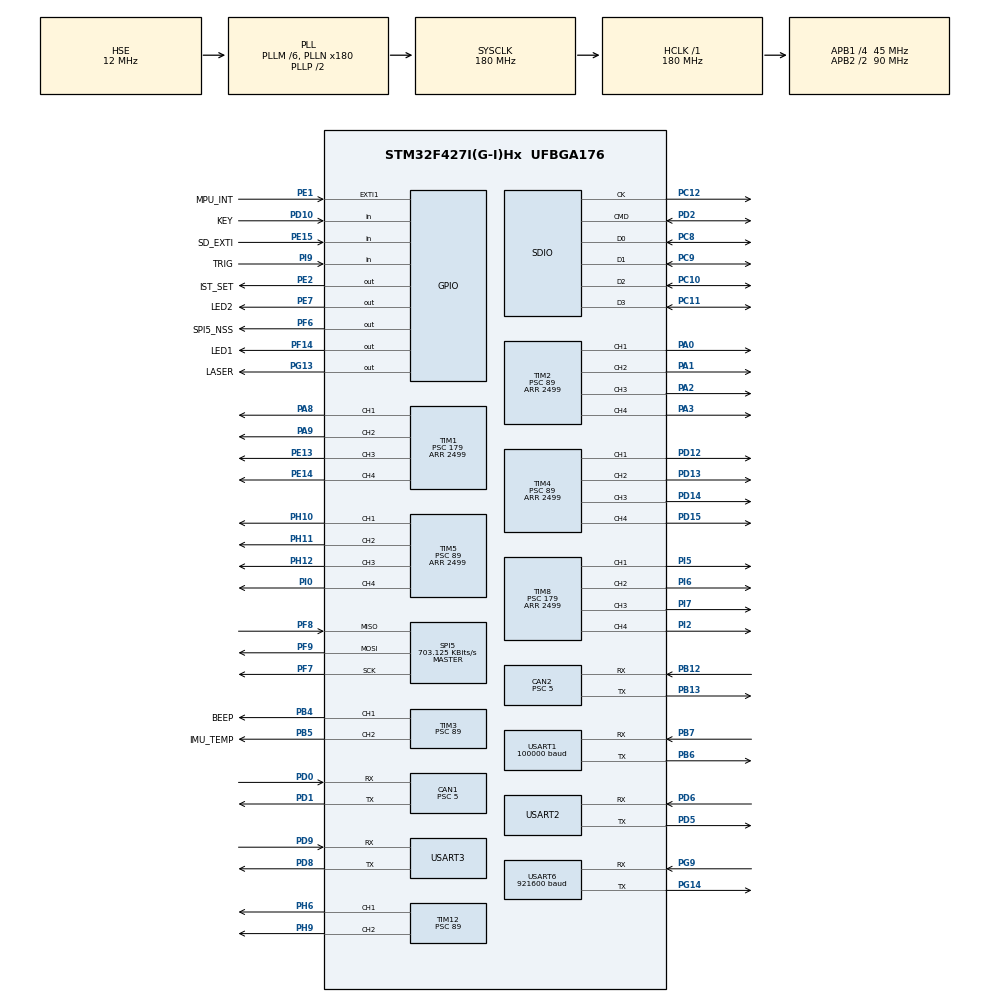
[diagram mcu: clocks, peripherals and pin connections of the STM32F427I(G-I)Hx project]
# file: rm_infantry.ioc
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CAN1.ABOM=ENABLE
CAN1.BS1=CAN_BS1_3TQ
CAN1.BS2=CAN_BS2_5TQ
CAN1.CalculateTimeBit=1000
CAN1.CalculateTimeQuantum=111.11111111111111
CAN1.Prescaler=5
CAN2.ABOM=ENABLE
CAN2.BS1=CAN_BS1_3TQ
CAN2.BS2=CAN_BS2_5TQ
CAN2.CalculateTimeBit=1000
CAN2.CalculateTimeQuantum=111.11111111111111
CAN2.Prescaler=5
CAN2.SJW=CAN_SJW_4TQ
Dma.Request0=SDIO_RX
Dma.Request1=SDIO_TX
Dma.Request2=USART1_RX
Dma.Request3=USART2_RX
Dma.Request4=USART3_RX
Dma.Request5=USART6_RX
Dma.Request6=USART2_TX
Dma.Request7=USART3_TX
Dma.Request8=USART6_TX
Dma.SDIO_RX.0.Direction=DMA_PERIPH_TO_MEMORY
Dma.SDIO_RX.0.FIFOMode=DMA_FIFOMODE_ENABLE
Dma.SDIO_RX.0.FIFOThreshold=DMA_FIFO_THRESHOLD_FULL
Dma.SDIO_RX.0.Instance=DMA2_Stream3
Dma.SDIO_RX.0.MemBurst=DMA_MBURST_INC4
Dma.SDIO_RX.0.MemDataAlignment=DMA_MDATAALIGN_WORD
Dma.SDIO_RX.0.MemInc=DMA_MINC_ENABLE
Dma.SDIO_RX.0.Mode=DMA_PFCTRL
Dma.SDIO_RX.0.PeriphBurst=DMA_PBURST_INC4
Dma.SDIO_RX.0.PeriphDataAlignment=DMA_PDATAALIGN_WORD
Dma.SDIO_RX.0.PeriphInc=DMA_PINC_DISABLE
Dma.SDIO_RX.0.Priority=DMA_PRIORITY_HIGH
Dma.SDIO_TX.1.Direction=DMA_MEMORY_TO_PERIPH
Dma.SDIO_TX.1.FIFOMode=DMA_FIFOMODE_ENABLE
Dma.SDIO_TX.1.FIFOThreshold=DMA_FIFO_THRESHOLD_FULL
Dma.SDIO_TX.1.Instance=DMA2_Stream6
Dma.SDIO_TX.1.MemBurst=DMA_MBURST_INC4
Dma.SDIO_TX.1.MemDataAlignment=DMA_MDATAALIGN_WORD
Dma.SDIO_TX.1.MemInc=DMA_MINC_ENABLE
Dma.SDIO_TX.1.Mode=DMA_PFCTRL
Dma.SDIO_TX.1.PeriphBurst=DMA_PBURST_INC4
Dma.SDIO_TX.1.PeriphDataAlignment=DMA_PDATAALIGN_WORD
Dma.SDIO_TX.1.PeriphInc=DMA_PINC_DISABLE
Dma.SDIO_TX.1.Priority=DMA_PRIORITY_HIGH
Dma.USART1_RX.2.Direction=DMA_PERIPH_TO_MEMORY
Dma.USART1_RX.2.FIFOMode=DMA_FIFOMODE_DISABLE
Dma.USART1_RX.2.Instance=DMA2_Stream2
Dma.USART1_RX.2.MemDataAlignment=DMA_MDATAALIGN_BYTE
Dma.USART1_RX.2.MemInc=DMA_MINC_ENABLE
Dma.USART1_RX.2.Mode=DMA_CIRCULAR
Dma.USART1_RX.2.PeriphDataAlignment=DMA_PDATAALIGN_BYTE
Dma.USART1_RX.2.PeriphInc=DMA_PINC_DISABLE
Dma.USART1_RX.2.Priority=DMA_PRIORITY_LOW
Dma.USART2_RX.3.Direction=DMA_PERIPH_TO_MEMORY
Dma.USART2_RX.3.FIFOMode=DMA_FIFOMODE_DISABLE
Dma.USART2_RX.3.Instance=DMA1_Stream5
Dma.USART2_RX.3.MemDataAlignment=DMA_MDATAALIGN_BYTE
Dma.USART2_RX.3.MemInc=DMA_MINC_ENABLE
Dma.USART2_RX.3.Mode=DMA_NORMAL
Dma.USART2_RX.3.PeriphDataAlignment=DMA_PDATAALIGN_BYTE
Dma.USART2_RX.3.PeriphInc=DMA_PINC_DISABLE
Dma.USART2_RX.3.Priority=DMA_PRIORITY_LOW
Dma.USART2_TX.6.Direction=DMA_MEMORY_TO_PERIPH
Dma.USART2_TX.6.FIFOMode=DMA_FIFOMODE_DISABLE
Dma.USART2_TX.6.Instance=DMA1_Stream6
Dma.USART2_TX.6.MemDataAlignment=DMA_MDATAALIGN_BYTE
Dma.USART2_TX.6.MemInc=DMA_MINC_ENABLE
Dma.USART2_TX.6.Mode=DMA_NORMAL
Dma.USART2_TX.6.PeriphDataAlignment=DMA_PDATAALIGN_BYTE
Dma.USART2_TX.6.PeriphInc=DMA_PINC_DISABLE
Dma.USART2_TX.6.Priority=DMA_PRIORITY_LOW
Dma.USART3_RX.4.Direction=DMA_PERIPH_TO_MEMORY
Dma.USART3_RX.4.FIFOMode=DMA_FIFOMODE_DISABLE
Dma.USART3_RX.4.Instance=DMA1_Stream1
Dma.USART3_RX.4.MemDataAlignment=DMA_MDATAALIGN_BYTE
Dma.USART3_RX.4.MemInc=DMA_MINC_ENABLE
Dma.USART3_RX.4.Mode=DMA_NORMAL
Dma.USART3_RX.4.PeriphDataAlignment=DMA_PDATAALIGN_BYTE
Dma.USART3_RX.4.PeriphInc=DMA_PINC_DISABLE
Dma.USART3_RX.4.Priority=DMA_PRIORITY_LOW
Dma.USART3_TX.7.Direction=DMA_MEMORY_TO_PERIPH
Dma.USART3_TX.7.FIFOMode=DMA_FIFOMODE_DISABLE
Dma.USART3_TX.7.Instance=DMA1_Stream3
Dma.USART3_TX.7.MemDataAlignment=DMA_MDATAALIGN_BYTE
Dma.USART3_TX.7.MemInc=DMA_MINC_ENABLE
Dma.USART3_TX.7.Mode=DMA_NORMAL
Dma.USART3_TX.7.PeriphDataAlignment=DMA_PDATAALIGN_BYTE
Dma.USART3_TX.7.PeriphInc=DMA_PINC_DISABLE
Dma.USART3_TX.7.Priority=DMA_PRIORITY_LOW
Dma.USART6_RX.5.Direction=DMA_PERIPH_TO_MEMORY
Dma.USART6_RX.5.FIFOMode=DMA_FIFOMODE_DISABLE
Dma.USART6_RX.5.Instance=DMA2_Stream1
Dma.USART6_RX.5.MemDataAlignment=DMA_MDATAALIGN_BYTE
Dma.USART6_RX.5.MemInc=DMA_MINC_ENABLE
Dma.USART6_RX.5.Mode=DMA_NORMAL
Dma.USART6_RX.5.PeriphDataAlignment=DMA_PDATAALIGN_BYTE
Dma.USART6_RX.5.PeriphInc=DMA_PINC_DISABLE
Dma.USART6_RX.5.Priority=DMA_PRIORITY_LOW
Dma.USART6_TX.8.Direction=DMA_MEMORY_TO_PERIPH
Dma.USART6_TX.8.FIFOMode=DMA_FIFOMODE_DISABLE
Dma.USART6_TX.8.Instance=DMA2_Stream7
Dma.USART6_TX.8.MemDataAlignment=DMA_MDATAALIGN_BYTE
Dma.USART6_TX.8.MemInc=DMA_MINC_ENABLE
Dma.USART6_TX.8.Mode=DMA_NORMAL
Dma.USART6_TX.8.PeriphDataAlignment=DMA_PDATAALIGN_BYTE
Dma.USART6_TX.8.PeriphInc=DMA_PINC_DISABLE
Dma.USART6_TX.8.Priority=DMA_PRIORITY_LOW
FATFS._CODE_PAGE=936
FATFS._USE_LFN=2
FREERTOS.INCLUDE_uxTaskGetStackHighWaterMark=1
FREERTOS.INCLUDE_vTaskDelayUntil=1
FREERTOS.Tasks01=defaultTask,0,128,StartDefaultTask,Default,NULL
FREERTOS.configCHECK_FOR_STACK_OVERFLOW=1
FREERTOS.configTIMER_TASK_STACK_DEPTH=128
FREERTOS.configUSE_TIMERS=1
FREERTOS.configUSE_TRACE_FACILITY=1
Mcu.Family=STM32F4
Mcu.Name=STM32F427I(G-I)Hx
Mcu.Package=UFBGA176
NVIC.CAN1_RX0_IRQn=true\:5\:0\:false\:false\:true\:true\:true
NVIC.CAN1_TX_IRQn=true\:5\:0\:false\:false\:true\:true\:true
NVIC.CAN2_RX0_IRQn=true\:6\:0\:true\:false\:true\:true\:true
NVIC.CAN2_TX_IRQn=true\:6\:0\:true\:false\:true\:true\:true
NVIC.DMA1_Stream1_IRQn=true\:5\:0\:false\:false\:true\:true\:false
NVIC.DMA1_Stream3_IRQn=true\:5\:0\:false\:false\:true\:true\:false
NVIC.DMA1_Stream5_IRQn=true\:5\:0\:false\:false\:true\:true\:false
NVIC.DMA1_Stream6_IRQn=true\:5\:0\:false\:false\:true\:true\:false
NVIC.DMA2_Stream1_IRQn=true\:5\:0\:false\:false\:true\:true\:false
NVIC.DMA2_Stream2_IRQn=true\:5\:0\:false\:false\:true\:true\:false
NVIC.DMA2_Stream3_IRQn=true\:6\:0\:true\:false\:true\:true\:false
NVIC.DMA2_Stream6_IRQn=true\:6\:0\:true\:false\:true\:true\:false
NVIC.DMA2_Stream7_IRQn=true\:5\:0\:false\:false\:true\:true\:false
NVIC.PriorityGroup=NVIC_PRIORITYGROUP_4
NVIC.SDIO_IRQn=true\:5\:0\:false\:false\:true\:true\:true
NVIC.TIM6_DAC_IRQn=true\:0\:0\:false\:false\:true\:false\:false
NVIC.TimeBase=TIM6_DAC_IRQn
NVIC.TimeBaseIP=TIM6
NVIC.USART1_IRQn=true\:5\:0\:false\:false\:true\:true\:true
NVIC.USART2_IRQn=true\:5\:0\:true\:false\:true\:true\:true
NVIC.USART3_IRQn=true\:5\:0\:false\:false\:true\:true\:true
NVIC.USART6_IRQn=true\:5\:0\:false\:false\:true\:true\:true
PA0/WKUP.Signal=S_TIM2_CH1_ETR
PA1.Signal=S_TIM2_CH2
PA13.Mode=Serial_Wire
PA13.Signal=SYS_JTMS-SWDIO
PA14.Mode=Serial_Wire
PA14.Signal=SYS_JTCK-SWCLK
PA2.Signal=S_TIM2_CH3
PA3.Signal=S_TIM2_CH4
PA8.Signal=S_TIM1_CH1
PA9.Signal=S_TIM1_CH2
PB12.Mode=Slave
PB12.Signal=CAN2_RX
PB13.Mode=Slave
PB13.Signal=CAN2_TX
PB4.GPIO_Label=BEEP
PB4.Signal=S_TIM3_CH1
PB5.GPIO_Label=IMU_TEMP
PB5.Signal=S_TIM3_CH2
PB6.Mode=Asynchronous
PB6.Signal=USART1_TX
PB7.Mode=Asynchronous
PB7.Signal=USART1_RX
PC10.Mode=SD_4_bits_Wide_bus
PC10.Signal=SDIO_D2
PC11.Mode=SD_4_bits_Wide_bus
PC11.Signal=SDIO_D3
PC12.Mode=SD_4_bits_Wide_bus
PC12.Signal=SDIO_CK
PC8.Mode=SD_4_bits_Wide_bus
PC8.Signal=SDIO_D0
PC9.Mode=SD_4_bits_Wide_bus
PC9.Signal=SDIO_D1
PD0.Mode=Master
PD0.Signal=CAN1_RX
PD1.Mode=Master
PD1.Signal=CAN1_TX
PD10.GPIO_Label=KEY
PD10.Signal=GPIO_Input
PD12.Signal=S_TIM4_CH1
PD13.Signal=S_TIM4_CH2
PD14.Signal=S_TIM4_CH3
PD15.Signal=S_TIM4_CH4
PD2.Mode=SD_4_bits_Wide_bus
PD2.Signal=SDIO_CMD
PD5.Mode=Asynchronous
PD5.Signal=USART2_TX
PD6.Mode=Asynchronous
PD6.Signal=USART2_RX
PD8.Mode=Asynchronous
PD8.Signal=USART3_TX
PD9.Mode=Asynchronous
PD9.Signal=USART3_RX
PE1.GPIO_Label=MPU_INT
PE1.Signal=GPXTI1
PE13.Signal=S_TIM1_CH3
PE14.Signal=S_TIM1_CH4
PE15.GPIO_Label=SD_EXTI
PE15.Signal=GPIO_Input
PE2.GPIO_Label=IST_SET
PE2.Signal=GPIO_Output
PE7.GPIO_Label=LED2
PE7.Signal=GPIO_Output
PF14.GPIO_Label=LED1
PF14.Signal=GPIO_Output
PF6.GPIO_Label=SPI5_NSS
PF6.Signal=GPIO_Output
PF7.Mode=Full_Duplex_Master
PF7.Signal=SPI5_SCK
PF8.Mode=Full_Duplex_Master
PF8.Signal=SPI5_MISO
PF9.Mode=Full_Duplex_Master
PF9.Signal=SPI5_MOSI
PG13.GPIO_Label=LASER
PG13.Signal=GPIO_Output
PG14.Mode=Asynchronous
PG14.Signal=USART6_TX
PG9.Mode=Asynchronous
PG9.Signal=USART6_RX
PH0/OSC_IN.Mode=HSE-External-Oscillator
PH0/OSC_IN.Signal=RCC_OSC_IN
PH1/OSC_OUT.Mode=HSE-External-Oscillator
PH1/OSC_OUT.Signal=RCC_OSC_OUT
PH10.Signal=S_TIM5_CH1
PH11.Signal=S_TIM5_CH2
PH12.Signal=S_TIM5_CH3
PH6.Signal=S_TIM12_CH1
PH9.Signal=S_TIM12_CH2
PI0.Signal=S_TIM5_CH4
PI2.Signal=S_TIM8_CH4
PI5.Signal=S_TIM8_CH1
PI6.Signal=S_TIM8_CH2
PI7.Signal=S_TIM8_CH3
PI9.GPIO_Label=TRIG
PI9.GPIO_PuPd=GPIO_PULLUP
PI9.Signal=GPIO_Input
ProjectManager.HeapSize=0x500
ProjectManager.StackSize=0x1000
ProjectManager.TargetToolchain=MDK-ARM V5
RCC.48MHZClocksFreq_Value=45000000
RCC.AHBFreq_Value=180000000
RCC.APB1CLKDivider=RCC_HCLK_DIV4
RCC.APB1Freq_Value=45000000
RCC.APB1TimFreq_Value=90000000
RCC.APB2CLKDivider=RCC_HCLK_DIV2
RCC.APB2Freq_Value=90000000
RCC.APB2TimFreq_Value=180000000
RCC.CortexFreq_Value=180000000
RCC.HCLKFreq_Value=180000000
RCC.HSE_VALUE=12000000
RCC.HSI_VALUE=16000000
RCC.LSE_VALUE=32768
RCC.PLLM=6
RCC.PLLN=180
RCC.PLLQ=8
RCC.PLLSourceVirtual=RCC_PLLSOURCE_HSE
RCC.SYSCLKFreq_VALUE=180000000
RCC.SYSCLKSource=RCC_SYSCLKSOURCE_PLLCLK
RCC.VCOOutputFreq_Value=360000000
RTC.AsynchPrediv=124
RTC.Date=18
RTC.Format=RTC_FORMAT_BIN
RTC.Hours=10
RTC.Minutes=30
RTC.Month=RTC_MONTH_OCTOBER
RTC.WeekDay=RTC_WEEKDAY_WEDNESDAY
RTC.Year=17
SH.S_TIM12_CH1.0=TIM12_CH1,PWM Generation1 CH1
SH.S_TIM12_CH2.0=TIM12_CH2,PWM Generation2 CH2
SH.S_TIM1_CH1.0=TIM1_CH1,PWM Generation1 CH1
SH.S_TIM1_CH2.0=TIM1_CH2,PWM Generation2 CH2
SH.S_TIM1_CH3.0=TIM1_CH3,PWM Generation3 CH3
SH.S_TIM1_CH4.0=TIM1_CH4,PWM Generation4 CH4
SH.S_TIM2_CH1_ETR.0=TIM2_CH1,PWM Generation1 CH1
SH.S_TIM2_CH2.0=TIM2_CH2,PWM Generation2 CH2
SH.S_TIM2_CH3.0=TIM2_CH3,PWM Generation3 CH3
SH.S_TIM2_CH4.0=TIM2_CH4,PWM Generation4 CH4
SH.S_TIM3_CH1.0=TIM3_CH1,PWM Generation1 CH1
SH.S_TIM3_CH2.0=TIM3_CH2,PWM Generation2 CH2
SH.S_TIM4_CH1.0=TIM4_CH1,PWM Generation1 CH1
SH.S_TIM4_CH2.0=TIM4_CH2,PWM Generation2 CH2
SH.S_TIM4_CH3.0=TIM4_CH3,PWM Generation3 CH3
SH.S_TIM4_CH4.0=TIM4_CH4,PWM Generation4 CH4
SH.S_TIM5_CH1.0=TIM5_CH1,PWM Generation1 CH1
SH.S_TIM5_CH2.0=TIM5_CH2,PWM Generation2 CH2
SH.S_TIM5_CH3.0=TIM5_CH3,PWM Generation3 CH3
SH.S_TIM5_CH4.0=TIM5_CH4,PWM Generation4 CH4
SH.S_TIM8_CH1.0=TIM8_CH1,PWM Generation1 CH1
SH.S_TIM8_CH2.0=TIM8_CH2,PWM Generation2 CH2
SH.S_TIM8_CH3.0=TIM8_CH3,PWM Generation3 CH3
SH.S_TIM8_CH4.0=TIM8_CH4,PWM Generation4 CH4
SPI5.BaudRatePrescaler=SPI_BAUDRATEPRESCALER_128
SPI5.CalculateBaudRate=703.125 KBits/s
SPI5.Direction=SPI_DIRECTION_2LINES
SPI5.Mode=SPI_MODE_MASTER
SPI5.VirtualType=VM_MASTER
TIM1.Channel-PWM\ Generation1\ CH1=TIM_CHANNEL_1
TIM1.Channel-PWM\ Generation2\ CH2=TIM_CHANNEL_2
TIM1.Channel-PWM\ Generation3\ CH3=TIM_CHANNEL_3
TIM1.Channel-PWM\ Generation4\ CH4=TIM_CHANNEL_4
TIM1.Period=2499
TIM1.Prescaler=179
TIM1.Pulse-PWM\ Generation1\ CH1=1000
TIM1.Pulse-PWM\ Generation2\ CH2=1000
TIM1.Pulse-PWM\ Generation3\ CH3=1000
TIM1.Pulse-PWM\ Generation4\ CH4=1000
TIM12.Channel-PWM\ Generation1\ CH1=TIM_CHANNEL_1
TIM12.Channel-PWM\ Generation2\ CH2=TIM_CHANNEL_2
TIM12.Period=2499
TIM12.Prescaler=89
TIM12.Pulse-PWM\ Generation1\ CH1=1000
TIM12.Pulse-PWM\ Generation2\ CH2=1000
TIM2.Channel-PWM\ Generation1\ CH1=TIM_CHANNEL_1
TIM2.Channel-PWM\ Generation2\ CH2=TIM_CHANNEL_2
TIM2.Channel-PWM\ Generation3\ CH3=TIM_CHANNEL_3
TIM2.Channel-PWM\ Generation4\ CH4=TIM_CHANNEL_4
TIM2.Period=2499
TIM2.Prescaler=89
TIM2.Pulse-PWM\ Generation1\ CH1=1000
TIM2.Pulse-PWM\ Generation2\ CH2=1000
TIM2.Pulse-PWM\ Generation3\ CH3=1000
TIM2.Pulse-PWM\ Generation4\ CH4=1000
TIM3.Channel-PWM\ Generation1\ CH1=TIM_CHANNEL_1
TIM3.Channel-PWM\ Generation2\ CH2=TIM_CHANNEL_2
TIM3.Prescaler=89
TIM4.Channel-PWM\ Generation1\ CH1=TIM_CHANNEL_1
TIM4.Channel-PWM\ Generation2\ CH2=TIM_CHANNEL_2
TIM4.Channel-PWM\ Generation3\ CH3=TIM_CHANNEL_3
TIM4.Channel-PWM\ Generation4\ CH4=TIM_CHANNEL_4
TIM4.Period=2499
TIM4.Prescaler=89
TIM4.Pulse-PWM\ Generation1\ CH1=1000
TIM4.Pulse-PWM\ Generation2\ CH2=1000
TIM4.Pulse-PWM\ Generation3\ CH3=1000
TIM4.Pulse-PWM\ Generation4\ CH4=1000
TIM5.Channel-PWM\ Generation1\ CH1=TIM_CHANNEL_1
TIM5.Channel-PWM\ Generation2\ CH2=TIM_CHANNEL_2
TIM5.Channel-PWM\ Generation3\ CH3=TIM_CHANNEL_3
TIM5.Channel-PWM\ Generation4\ CH4=TIM_CHANNEL_4
TIM5.Period=2499
TIM5.Prescaler=89
TIM5.Pulse-PWM\ Generation1\ CH1=1000
TIM5.Pulse-PWM\ Generation2\ CH2=1000
TIM5.Pulse-PWM\ Generation3\ CH3=1000
TIM5.Pulse-PWM\ Generation4\ CH4=1000
TIM8.Channel-PWM\ Generation1\ CH1=TIM_CHANNEL_1
TIM8.Channel-PWM\ Generation2\ CH2=TIM_CHANNEL_2
TIM8.Channel-PWM\ Generation3\ CH3=TIM_CHANNEL_3
TIM8.Channel-PWM\ Generation4\ CH4=TIM_CHANNEL_4
TIM8.Period=2499
TIM8.Prescaler=179
TIM8.Pulse-PWM\ Generation1\ CH1=1000
TIM8.Pulse-PWM\ Generation2\ CH2=1000
TIM8.Pulse-PWM\ Generation3\ CH3=1000
TIM8.Pulse-PWM\ Generation4\ CH4=1000
USART1.BaudRate=100000
USART1.Parity=PARITY_EVEN
USART1.VirtualMode=VM_ASYNC
USART2.VirtualMode=VM_ASYNC
USART3.VirtualMode=VM_ASYNC
USART6.BaudRate=921600
USART6.VirtualMode=VM_ASYNC
VP_FATFS_VS_SDIO.Mode=SDIO
VP_FREERTOS_VS_ENABLE.Mode=Enabled
VP_RTC_VS_RTC_Activate.Mode=RTC_Enabled
VP_RTC_VS_RTC_Calendar.Mode=RTC_Calendar
VP_RTC_VS_RTC_WakeUp_intern.Mode=WakeUp
VP_SYS_VS_tim6.Mode=TIM6
board=rm_infantry

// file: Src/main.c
/**
  ******************************************************************************
  * File Name          : main.c
  * Description        : Main program body
  ******************************************************************************
  * This notice applies to any and all portions of this file
  * that are not between comment pairs USER CODE BEGIN and
  * USER CODE END. Other portions of this file, whether
  * inserted by the user or by software development tools
  * are owned by their respective copyright owners.
  *
  * Copyright (c) 2018 STMicroelectronics International N.V.
  * All rights reserved.
  *
  * Redistribution and use in source and binary forms, with or without
  * modification, are permitted, provided that the following conditions are met:
  *
  * 1. Redistribution of source code must retain the above copyright notice,
  *    this list of conditions and the following disclaimer.
  * 2. Redistributions in binary form must reproduce the above copyright notice,
  *    this list of conditions and the following disclaimer in the documentation
  *    and/or other materials provided with the distribution.
  * 3. Neither the name of STMicroelectronics nor the names of other
  *    contributors to this software may be used to endorse or promote products
  *    derived from this software without specific written permission.
  * 4. This software, including modifications and/or derivative works of this
  *    software, must execute solely and exclusively on microcontroller or
  *    microprocessor devices manufactured by or for STMicroelectronics.
  * 5. Redistribution and use of this software other than as permitted under
  *    this license is void and will automatically terminate your rights under
  *    this license.
  *
  * THIS SOFTWARE IS PROVIDED BY STMICROELECTRONICS AND CONTRIBUTORS "AS IS"
  * AND ANY EXPRESS, IMPLIED OR STATUTORY WARRANTIES, INCLUDING, BUT NOT
  * LIMITED TO, THE IMPLIED WARRANTIES OF MERCHANTABILITY, FITNESS FOR A
  * PARTICULAR PURPOSE AND NON-INFRINGEMENT OF THIRD PARTY INTELLECTUAL PROPERTY
  * RIGHTS ARE DISCLAIMED TO THE FULLEST EXTENT PERMITTED BY LAW. IN NO EVENT
  * SHALL STMICROELECTRONICS OR CONTRIBUTORS BE LIABLE FOR ANY DIRECT, INDIRECT,
  * INCIDENTAL, SPECIAL, EXEMPLARY, OR CONSEQUENTIAL DAMAGES (INCLUDING, BUT NOT
  * LIMITED TO, PROCUREMENT OF SUBSTITUTE GOODS OR SERVICES; LOSS OF USE, DATA,
  * OR PROFITS; OR BUSINESS INTERRUPTION) HOWEVER CAUSED AND ON ANY THEORY OF
  * LIABILITY, WHETHER IN CONTRACT, STRICT LIABILITY, OR TORT (INCLUDING
  * NEGLIGENCE OR OTHERWISE) ARISING IN ANY WAY OUT OF THE USE OF THIS SOFTWARE,
  * EVEN IF ADVISED OF THE POSSIBILITY OF SUCH DAMAGE.
  *
  ******************************************************************************
  */
#include "main.h"
#include "stm32f4xx_hal.h"
#include "cmsis_os.h"
#include "can.h"
#include "dma.h"
#include "fatfs.h"
#include "rtc.h"
#include "sdio.h"
#include "spi.h"
#include "tim.h"
#include "usart.h"
#include "gpio.h"

/* USER CODE BEGIN Includes */
#include "bsp_can.h"
#include "bsp_uart.h"
#include "calibrate.h"
#include "comm_task.h"
#include "gimbal_task.h"
#include "shoot_task.h"
#include "chassis_task.h"
#include "detect_task.h"
#include "imu_task.h"
#include "bsp_imu.h"
#include "bsp_io.h"
/* USER CODE END Includes */

/* USER CODE BEGIN PV */
/* Private variables ---------------------------------------------------------*/

/* USER CODE END PV */

void SystemClock_Config(void);
void MX_FREERTOS_Init(void);

/* USER CODE BEGIN PFP */
/* Private function prototypes -----------------------------------------------*/

/* USER CODE END PFP */

int main(void)
{

  /* MCU Configuration----------------------------------------------------------*/

  /* Reset of all peripherals, Initializes the Flash interface and the Systick. */
  HAL_Init();

  /* Configure the system clock */
  SystemClock_Config();

  /* Initialize all configured peripherals */
  MX_GPIO_Init();
  MX_DMA_Init();
  MX_SDIO_SD_Init();
  MX_CAN1_Init();
  MX_RTC_Init();
  MX_SPI5_Init();
  MX_TIM2_Init();
  MX_TIM3_Init();
  MX_CAN2_Init();
  MX_TIM4_Init();
  MX_TIM5_Init();
  MX_TIM8_Init();
  MX_TIM12_Init();
  MX_USART1_UART_Init();
  MX_USART2_UART_Init();
  MX_USART3_UART_Init();
  MX_USART6_UART_Init();
  MX_TIM1_Init();

  /* USER CODE BEGIN 2 */
  //software parameter initialize
  gimbal_param_init();
  shoot_param_init();
  chassis_param_init();
  detector_param_init();
  communicate_param_init();
  imu_param_init();
  cali_param_init();
  //hardware device initialize
  pwm_device_init();
  mpu_device_init();
  can_device_init();
  //gyro_device_init();

  //open can receive it
  can_receive_start();
  //open dbus uart receive it
  dbus_uart_init();

  /* USER CODE END 2 */

  /* Call init function for freertos objects (in freertos.c) */
  MX_FREERTOS_Init();

  /* Start scheduler */
  osKernelStart();

  /* We should never get here as control is now taken by the scheduler */

  /* Infinite loop */
  while (1)
  {

  }

}

/** System Clock Configuration
*/
void SystemClock_Config(void)
{

  RCC_OscInitTypeDef RCC_OscInitStruct;
  RCC_ClkInitTypeDef RCC_ClkInitStruct;
  RCC_PeriphCLKInitTypeDef PeriphClkInitStruct;

    /**Configure the main internal regulator output voltage
    */
  __HAL_RCC_PWR_CLK_ENABLE();

  __HAL_PWR_VOLTAGESCALING_CONFIG(PWR_REGULATOR_VOLTAGE_SCALE1);

    /**Initializes the CPU, AHB and APB busses clocks
    */
  RCC_OscInitStruct.OscillatorType = RCC_OSCILLATORTYPE_LSI|RCC_OSCILLATORTYPE_HSE;
  RCC_OscInitStruct.HSEState = RCC_HSE_ON;
  RCC_OscInitStruct.LSIState = RCC_LSI_ON;
  RCC_OscInitStruct.PLL.PLLState = RCC_PLL_ON;
  RCC_OscInitStruct.PLL.PLLSource = RCC_PLLSOURCE_HSE;
  RCC_OscInitStruct.PLL.PLLM = 6;
  RCC_OscInitStruct.PLL.PLLN = 180;
  RCC_OscInitStruct.PLL.PLLP = RCC_PLLP_DIV2;
  RCC_OscInitStruct.PLL.PLLQ = 8;
  if (HAL_RCC_OscConfig(&RCC_OscInitStruct) != HAL_OK)
  {
    _Error_Handler(__FILE__, __LINE__);
  }

    /**Activate the Over-Drive mode
    */
  if (HAL_PWREx_EnableOverDrive() != HAL_OK)
  {
    _Error_Handler(__FILE__, __LINE__);
  }

    /**Initializes the CPU, AHB and APB busses clocks
    */
  RCC_ClkInitStruct.ClockType = RCC_CLOCKTYPE_HCLK|RCC_CLOCKTYPE_SYSCLK
                              |RCC_CLOCKTYPE_PCLK1|RCC_CLOCKTYPE_PCLK2;
  RCC_ClkInitStruct.SYSCLKSource = RCC_SYSCLKSOURCE_PLLCLK;
  RCC_ClkInitStruct.AHBCLKDivider = RCC_SYSCLK_DIV1;
  RCC_ClkInitStruct.APB1CLKDivider = RCC_HCLK_DIV4;
  RCC_ClkInitStruct.APB2CLKDivider = RCC_HCLK_DIV2;

  if (HAL_RCC_ClockConfig(&RCC_ClkInitStruct, FLASH_LATENCY_5) != HAL_OK)
  {
    _Error_Handler(__FILE__, __LINE__);
  }

  PeriphClkInitStruct.PeriphClockSelection = RCC_PERIPHCLK_RTC;
  PeriphClkInitStruct.RTCClockSelection = RCC_RTCCLKSOURCE_LSI;
  if (HAL_RCCEx_PeriphCLKConfig(&PeriphClkInitStruct) != HAL_OK)
  {
    _Error_Handler(__FILE__, __LINE__);
  }

    /**Configure the Systick interrupt time
    */
  HAL_SYSTICK_Config(HAL_RCC_GetHCLKFreq()/1000);

    /**Configure the Systick
    */
  HAL_SYSTICK_CLKSourceConfig(SYSTICK_CLKSOURCE_HCLK);

  /* SysTick_IRQn interrupt configuration */
  HAL_NVIC_SetPriority(SysTick_IRQn, 15, 0);
}

void HAL_TIM_PeriodElapsedCallback(TIM_HandleTypeDef *htim)
{
  if (htim->Instance == TIM6) {
    HAL_IncTick();
  }
}

void _Error_Handler(char * file, int line)
{
  while(1)
  {
  }
}

/************************ (C) COPYRIGHT STMicroelectronics *****END OF FILE****/

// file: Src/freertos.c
/**
  ******************************************************************************
  * File Name          : freertos.c
  * Description        : Code for freertos applications
  ******************************************************************************
  * This notice applies to any and all portions of this file
  * that are not between comment pairs USER CODE BEGIN and
  * USER CODE END. Other portions of this file, whether
  * inserted by the user or by software development tools
  * are owned by their respective copyright owners.
  *
  * Copyright (c) 2018 STMicroelectronics International N.V.
  * All rights reserved.
  *
  * Redistribution and use in source and binary forms, with or without
  * modification, are permitted, provided that the following conditions are met:
  *
  * 1. Redistribution of source code must retain the above copyright notice,
  *    this list of conditions and the following disclaimer.
  * 2. Redistributions in binary form must reproduce the above copyright notice,
  *    this list of conditions and the following disclaimer in the documentation
  *    and/or other materials provided with the distribution.
  * 3. Neither the name of STMicroelectronics nor the names of other
  *    contributors to this software may be used to endorse or promote products
  *    derived from this software without specific written permission.
  * 4. This software, including modifications and/or derivative works of this
  *    software, must execute solely and exclusively on microcontroller or
  *    microprocessor devices manufactured by or for STMicroelectronics.
  * 5. Redistribution and use of this software other than as permitted under
  *    this license is void and will automatically terminate your rights under
  *    this license.
  *
  * THIS SOFTWARE IS PROVIDED BY STMICROELECTRONICS AND CONTRIBUTORS "AS IS"
  * AND ANY EXPRESS, IMPLIED OR STATUTORY WARRANTIES, INCLUDING, BUT NOT
  * LIMITED TO, THE IMPLIED WARRANTIES OF MERCHANTABILITY, FITNESS FOR A
  * PARTICULAR PURPOSE AND NON-INFRINGEMENT OF THIRD PARTY INTELLECTUAL PROPERTY
  * RIGHTS ARE DISCLAIMED TO THE FULLEST EXTENT PERMITTED BY LAW. IN NO EVENT
  * SHALL STMICROELECTRONICS OR CONTRIBUTORS BE LIABLE FOR ANY DIRECT, INDIRECT,
  * INCIDENTAL, SPECIAL, EXEMPLARY, OR CONSEQUENTIAL DAMAGES (INCLUDING, BUT NOT
  * LIMITED TO, PROCUREMENT OF SUBSTITUTE GOODS OR SERVICES; LOSS OF USE, DATA,
  * OR PROFITS; OR BUSINESS INTERRUPTION) HOWEVER CAUSED AND ON ANY THEORY OF
  * LIABILITY, WHETHER IN CONTRACT, STRICT LIABILITY, OR TORT (INCLUDING
  * NEGLIGENCE OR OTHERWISE) ARISING IN ANY WAY OUT OF THE USE OF THIS SOFTWARE,
  * EVEN IF ADVISED OF THE POSSIBILITY OF SUCH DAMAGE.
  *
  ******************************************************************************
  */

#include "FreeRTOS.h"
#include "task.h"
#include "cmsis_os.h"

/* USER CODE BEGIN Includes */
#include "chassis_task.h"
#include "shoot_task.h"
#include "gimbal_task.h"
#include "detect_task.h"
#include "record_task.h"
#include "imu_task.h"
#include "comm_task.h"
#include "modeswitch_task.h"
#include "info_get_task.h"
#include "bsp_uart.h"
#include "sys_config.h"
/* USER CODE END Includes */

osThreadId defaultTaskHandle;

/* USER CODE BEGIN Variables */
TaskHandle_t shot_task_t;
TaskHandle_t can_msg_send_task_t;

TaskHandle_t mode_sw_task_t;
TaskHandle_t info_get_task_t;
TaskHandle_t detect_task_t;
TaskHandle_t imu_task_t;

TaskHandle_t freq_info_task_t;
TaskHandle_t judge_unpack_task_t;
TaskHandle_t pc_unpack_task_t;

osTimerId chassis_timer_id;
osTimerId gimbal_timer_id;

volatile int stack_over_flow_warning = 0;
/* USER CODE END Variables */

void StartDefaultTask(void const * argument);

extern void MX_FATFS_Init(void);
void MX_FREERTOS_Init(void); /* (MISRA C 2004 rule 8.1) */

/* Hook prototypes */
void vApplicationStackOverflowHook(xTaskHandle xTask, signed char *pcTaskName);

/* USER CODE BEGIN 4 */
__weak void vApplicationStackOverflowHook(xTaskHandle xTask, signed char *pcTaskName)
{
   /* Run time stack overflow checking is performed if
   configCHECK_FOR_STACK_OVERFLOW is defined to 1 or 2. This hook function is
   called if a stack overflow is detected. */
#if 0
    if (xTask == chassis_task_t)
      stack_over_flow_warning = 1;
    else if (xTask == gimbal_task_t)
      stack_over_flow_warning = 2;
    else if (xTask == detect_task_t)
      stack_over_flow_warning = 3;
    else if (xTask == record_task_t)
      stack_over_flow_warning = 4;
    else if (xTask == imu_task_t)
      stack_over_flow_warning = 5;
    else if (xTask == freq_info_task_t)
      stack_over_flow_warning = 6;
    else if (xTask == mode_sw_task_t)
      stack_over_flow_warning = 7;
    else if (xTask == info_get_task_t)
      stack_over_flow_warning = 8;
    else
      stack_over_flow_warning = 9;
#endif
    while (1)
    {
    }
}
/* USER CODE END 4 */

/* Init FreeRTOS */

void MX_FREERTOS_Init(void) {

  /* USER CODE BEGIN RTOS_TIMERS */
  /* start timers, add new ones, ... */

    /* real time control task */
  taskENTER_CRITICAL();

    osTimerDef(chassisTimer, chassis_task);
    chassis_timer_id = osTimerCreate(osTimer(chassisTimer), osTimerPeriodic, NULL);

    osTimerDef(gimTimer, gimbal_task);
    gimbal_timer_id = osTimerCreate(osTimer(gimTimer), osTimerPeriodic, NULL);

  /* USER CODE END RTOS_TIMERS */

  /* Create the thread(s) */
  /* definition and creation of defaultTask */
  osThreadDef(defaultTask, StartDefaultTask, osPriorityNormal, 0, 128);
  defaultTaskHandle = osThreadCreate(osThread(defaultTask), NULL);

  /* USER CODE BEGIN RTOS_THREADS */
  /* add threads, ... */

    /* high priority task */
    osThreadDef(shotTask, shot_task, osPriorityAboveNormal, 0, 128);
    shot_task_t = osThreadCreate(osThread(shotTask), NULL);

    osThreadDef(canTask, can_msg_send_task, osPriorityAboveNormal, 0, 128);
    can_msg_send_task_t = osThreadCreate(osThread(canTask), NULL);

    /* low priority task */
    osThreadDef(modeTask, mode_switch_task, osPriorityNormal, 0, 128);
    mode_sw_task_t = osThreadCreate(osThread(modeTask), NULL);

    osThreadDef(infoTask, info_get_task, osPriorityNormal, 0, 128);
    info_get_task_t = osThreadCreate(osThread(infoTask), NULL);

    osThreadDef(errTask, detect_task, osPriorityNormal, 0, 128);
    detect_task_t = osThreadCreate(osThread(errTask), NULL);

    osThreadDef(imuTask, imu_task, osPriorityNormal, 0, 128);
    imu_task_t = osThreadCreate(osThread(imuTask), NULL);

    /* unpack task */
    osThreadDef(unpackTask, judge_unpack_task, osPriorityNormal, 0, 512);
    judge_unpack_task_t = osThreadCreate(osThread(unpackTask), NULL);

    osThreadDef(pcunpackTask, pc_unpack_task, osPriorityNormal, 0, 512);
    pc_unpack_task_t = osThreadCreate(osThread(pcunpackTask), NULL);

  taskEXIT_CRITICAL();
  /* USER CODE END RTOS_THREADS */

}

/* StartDefaultTask function */
void StartDefaultTask(void const * argument)
{
  /* init code for FATFS */
  MX_FATFS_Init();

  /* USER CODE BEGIN StartDefaultTask */
  //osThreadResume(record_task_t);
  /* Infinite loop */
  for(;;)
  {
    osDelay(1);
  }
  /* USER CODE END StartDefaultTask */
}

/* USER CODE BEGIN Application */
//TaskHandle_t chassis_task_t;
//TaskHandle_t gimbal_task_t;
//TaskHandle_t record_task_t;

//    osThreadDef(chassisTask, chassis_task, osPriorityAboveNormal, 0, 128);
//    chassis_task_t = osThreadCreate(osThread(chassisTask), NULL);

//    osThreadDef(gimbalTask, gimbal_task, osPriorityAboveNormal, 0, 128);
//    gimbal_task_t = osThreadCreate(osThread(gimbalTask), NULL);

//    osThreadDef(rcdTask, record_task, osPriorityNormal, 0, 512);
//    record_task_t = osThreadCreate(osThread(rcdTask), NULL);
//
/* USER CODE END Application */

/************************ (C) COPYRIGHT STMicroelectronics *****END OF FILE****/
